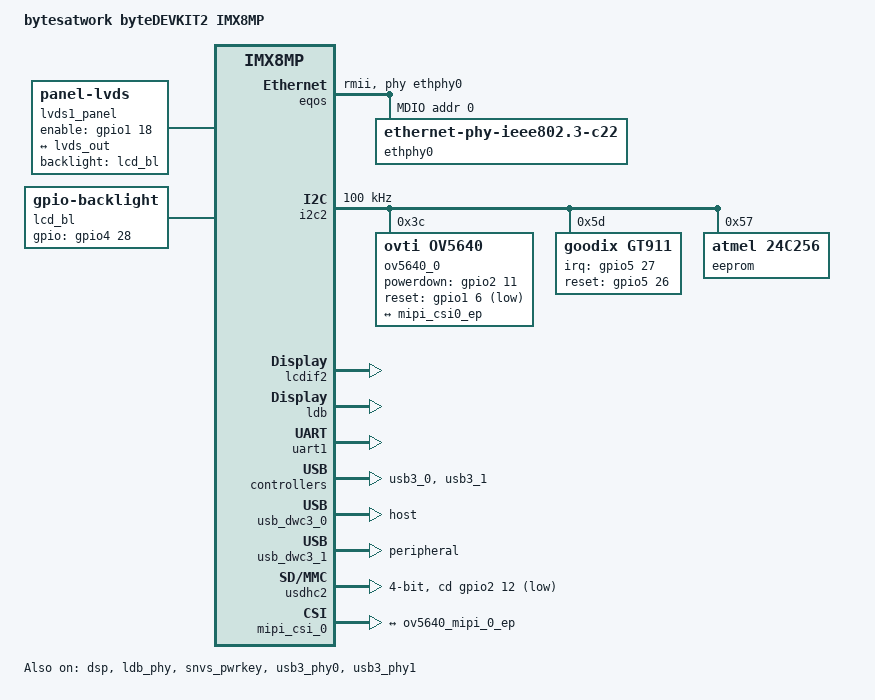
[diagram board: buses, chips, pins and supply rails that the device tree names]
// SPDX-License-Identifier: (GPL-2.0+ OR MIT)
/*
 * Copyright 2023 bytesatwork AG
 */

/dts-v1/;

#include "imx8mp-byteengine.dtsi"

/ {
	model = "bytesatwork byteDEVKIT2 IMX8MP";
	compatible = "bytesatwork,bytedevkit-imx8mp", "bytesatwork,byteengine-imx8mp", "fsl,imx8mp";

	chosen {
		stdout-path = &uart1;
	};

	lvds1_panel {
		compatible = "panel-lvds";
		status = "okay";
		backlight = <&lcd_bl>;
		enable-gpios = <&gpio1 18 GPIO_ACTIVE_HIGH>;
		data-mapping = "vesa-24";
		width-mm = <108>;
		height-mm = <65>;

		panel-timing {
			clock-frequency = <25000000>;
			hactive = <800>;
			vactive = <480>;
			hback-porch = <8>;
			hfront-porch = <8>;
			vback-porch = <8>;
			vfront-porch = <8>;
			hsync-len = <4>;
			vsync-len = <4>;
		};

		port {
			panel_in: endpoint {
				remote-endpoint = <&lvds_out>;
			};
		};
	};

	lcd_bl: backlight {
		compatible = "gpio-backlight";
		gpios = <&gpio4 28 GPIO_ACTIVE_HIGH>;
		default-on;
	};
};

&dsp {
	status = "okay";
};

&eqos {
	pinctrl-names = "default";
	pinctrl-0 = <&pinctrl_eqos>;
	phy-mode = "rmii";
	phy-handle = <&ethphy0>;
	snps,rmii_refclk_ext;
	mdio_rst_after_resume;
	snps,force_thresh_dma_mode;
	status = "okay";

	assigned-clock-parents = <&clk IMX8MP_SYS_PLL1_266M>,
				 <&clk IMX8MP_SYS_PLL2_100M>,
				 <&clk IMX8MP_SYS_PLL2_50M>;
	assigned-clock-rates = <0>, <100000000>, <50000000>;

	mdio {
		compatible = "snps,dwmac-mdio";
		#address-cells = <1>;
		#size-cells = <0>;
		ethphy0: ethernet-phy@0 {
			compatible = "ethernet-phy-ieee802.3-c22";
			reg = <0>;
			max-speed = <100>;
		};
	};
};

&i2c2 {
	clock-frequency = <100000>;
	pinctrl-names = "default";
	pinctrl-0 = <&pinctrl_i2c2
		     &pinctrl_touch>;
	status = "okay";

	ov5640_0: ov5640_mipi@3c {
		compatible = "ovti,ov5640";
		reg = <0x3c>;
		pinctrl-names = "default";
		pinctrl-0 = <&pinctrl_csi0_pwn>, <&pinctrl_csi0_rst>, <&pinctrl_csi_mclk>;
		clocks = <&clk IMX8MP_CLK_IPP_DO_CLKO2>;
		clock-names = "xclk";
		assigned-clocks = <&clk IMX8MP_CLK_IPP_DO_CLKO2>;
		assigned-clock-parents = <&clk IMX8MP_CLK_24M>;
		assigned-clock-rates = <24000000>;
		csi_id = <0>;
		powerdown-gpios = <&gpio2 11 GPIO_ACTIVE_HIGH>;
		reset-gpios = <&gpio1 6 GPIO_ACTIVE_LOW>;
		mclk = <24000000>;
		mclk_source = <0>;
		mipi_csi;
		status = "okay";

		port {
			ov5640_mipi_0_ep: endpoint {
				remote-endpoint = <&mipi_csi0_ep>;
				data-lanes = <1 2>;
				clock-lanes = <0>;
			};
		};
	};

	gt911@5d {
		compatible = "goodix,gt911";
		reg = <0x5d>;
		interrupt-parent = <&gpio5>;
		interrupts = <27 0>;
		irq-gpios = <&gpio5 27 0>;
		reset-gpios = <&gpio5 26 0>;
		touchscreen-inverted-x;
		touchscreen-inverted-y;
	};

	eeprom: eeprom@57 {
		compatible = "atmel,24c256";
		reg = <0x57>;
	};
};

&lcdif2 {
	status = "okay";
};

&ldb {
	status = "okay";

	lvds-channel@0 {
		fsl,data-mapping = "spwg";
		fsl,data-width = <24>;
		status = "okay";

		port@1 {
			reg = <1>;

			lvds_out: endpoint {
				remote-endpoint = <&panel_in>;
			};
		};
	};
};

&ldb_phy {
	status = "okay";
};

&snvs_pwrkey {
	status = "okay";
};

&uart1 { /* console */
	pinctrl-names = "default";
	pinctrl-0 = <&pinctrl_uart1>;
	status = "okay";
};

&usb3_phy0 {
	status = "okay";
};

&usb3_0 {
	status = "okay";
};

&usb_dwc3_0 {
	pinctrl-names = "default";
	pinctrl-0 = <&pinctrl_usb1>;
	dr_mode = "host";
	status = "okay";
};

&usb3_phy1 {
	status = "okay";
};

&usb3_1 {
	status = "okay";
};

&usb_dwc3_1 {
	pinctrl-names = "default";
	pinctrl-0 = <&pinctrl_usb1_vbus>;
	dr_mode = "peripheral";
	status = "okay";
};

&usdhc2 {
	assigned-clocks = <&clk IMX8MP_CLK_USDHC2>;
	assigned-clock-rates = <400000000>;
	pinctrl-names = "default";
	pinctrl-0 = <&pinctrl_usdhc2>, <&pinctrl_usdhc2_gpio>;
	cd-gpios = <&gpio2 12 GPIO_ACTIVE_LOW>;
	bus-width = <4>;
	status = "okay";
};

&iomuxc {
	pinctrl_uart1: uart1grp {
		fsl,pins = <
			MX8MP_IOMUXC_UART1_RXD__UART1_DCE_RX	0x140
			MX8MP_IOMUXC_UART1_TXD__UART1_DCE_TX	0x140
		>;
	};

	pinctrl_eqos: eqosgrp {
		fsl,pins = <
			MX8MP_IOMUXC_ENET_MDC__ENET_QOS_MDC		0x2
			MX8MP_IOMUXC_ENET_MDIO__ENET_QOS_MDIO		0x2
			MX8MP_IOMUXC_ENET_TD2__CCM_ENET_QOS_CLOCK_GENERATE_REF_CLK	0x40000090
			MX8MP_IOMUXC_ENET_RD0__ENET_QOS_RGMII_RD0	0x90
			MX8MP_IOMUXC_ENET_RD1__ENET_QOS_RGMII_RD1	0x90
			MX8MP_IOMUXC_ENET_TD0__ENET_QOS_RGMII_TD0	0x16
			MX8MP_IOMUXC_ENET_TD1__ENET_QOS_RGMII_TD1	0x16
			MX8MP_IOMUXC_ENET_RX_CTL__ENET_QOS_RGMII_RX_CTL	0x90  /* CRS DV */
			MX8MP_IOMUXC_ENET_TX_CTL__ENET_QOS_RGMII_TX_CTL	0x16  /* TX_EN */
			MX8MP_IOMUXC_ENET_TD3__GPIO1_IO18		0x14
			MX8MP_IOMUXC_SAI2_RXC__GPIO4_IO22		0x10
			MX8MP_IOMUXC_ENET_TXC__GPIO1_IO23		0x10  /* Disable TXC */
		>;
	};

	pinctrl_i2c2: i2c2grp {
		fsl,pins = <
			MX8MP_IOMUXC_I2C2_SCL__I2C2_SCL		0x400001c2
			MX8MP_IOMUXC_I2C2_SDA__I2C2_SDA		0x400001c2
		>;
	};

	pinctrl_reg_usdhc2_vmmc: regusdhc2vmmcgrp {
		fsl,pins = <
			MX8MP_IOMUXC_SD2_RESET_B__GPIO2_IO19	0x40
		>;
	};

	pinctrl_usb1_vbus: usb1grp {
		fsl,pins = <
			MX8MP_IOMUXC_GPIO1_IO14__GPIO1_IO14		0x10
		>;
	};

	pinctrl_usdhc2: usdhc2grp {
		fsl,pins = <
			MX8MP_IOMUXC_SD2_CLK__USDHC2_CLK	0x190
			MX8MP_IOMUXC_SD2_CMD__USDHC2_CMD	0x1d0
			MX8MP_IOMUXC_SD2_DATA0__USDHC2_DATA0	0x1d0
			MX8MP_IOMUXC_SD2_DATA1__USDHC2_DATA1	0x1d0
			MX8MP_IOMUXC_SD2_DATA2__USDHC2_DATA2	0x1d0
			MX8MP_IOMUXC_SD2_DATA3__USDHC2_DATA3	0x1d0
			MX8MP_IOMUXC_GPIO1_IO04__USDHC2_VSELECT	0xc0
		>;
	};

	pinctrl_usdhc2_100mhz: usdhc2-100mhzgrp {
		fsl,pins = <
			MX8MP_IOMUXC_SD2_CLK__USDHC2_CLK	0x194
			MX8MP_IOMUXC_SD2_CMD__USDHC2_CMD	0x1d4
			MX8MP_IOMUXC_SD2_DATA0__USDHC2_DATA0	0x1d4
			MX8MP_IOMUXC_SD2_DATA1__USDHC2_DATA1	0x1d4
			MX8MP_IOMUXC_SD2_DATA2__USDHC2_DATA2	0x1d4
			MX8MP_IOMUXC_SD2_DATA3__USDHC2_DATA3	0x1d4
			MX8MP_IOMUXC_GPIO1_IO04__USDHC2_VSELECT	0xc0
		>;
	};

	pinctrl_usdhc2_200mhz: usdhc2-200mhzgrp {
		fsl,pins = <
			MX8MP_IOMUXC_SD2_CLK__USDHC2_CLK	0x196
			MX8MP_IOMUXC_SD2_CMD__USDHC2_CMD	0x1d6
			MX8MP_IOMUXC_SD2_DATA0__USDHC2_DATA0	0x1d6
			MX8MP_IOMUXC_SD2_DATA1__USDHC2_DATA1	0x1d6
			MX8MP_IOMUXC_SD2_DATA2__USDHC2_DATA2	0x1d6
			MX8MP_IOMUXC_SD2_DATA3__USDHC2_DATA3	0x1d6
			MX8MP_IOMUXC_GPIO1_IO04__USDHC2_VSELECT	0xc0
		>;
	};

	pinctrl_usdhc2_gpio: usdhc2gpiogrp {
		fsl,pins = <
			MX8MP_IOMUXC_SD2_CD_B__GPIO2_IO12	0x1c4
		>;
	};

	pinctrl_csi0_pwn: csi0_pwn_grp {
		fsl,pins = <
			MX8MP_IOMUXC_SD1_STROBE__GPIO2_IO11	0x10
		>;
	};

	pinctrl_csi0_rst: csi0_rst_grp {
		fsl,pins = <
			MX8MP_IOMUXC_GPIO1_IO06__GPIO1_IO06		0x10
		>;
	};

	pinctrl_csi_mclk: csi_mclk_grp {
		fsl,pins = <
			MX8MP_IOMUXC_GPIO1_IO15__CCM_CLKO2	0x50
		>;
	};

	pinctrl_usb1: usb1_grp {
		fsl,pins = <
			MX8MP_IOMUXC_GPIO1_IO12__USB1_PWR	0x10
			MX8MP_IOMUXC_GPIO1_IO13__USB1_OC	0x10
		>;
	};

	pinctrl_touch: touch_grp {
		fsl,pins = <
			MX8MP_IOMUXC_UART3_RXD__GPIO5_IO26	0x10	/* Touch Reset*/
			MX8MP_IOMUXC_UART3_TXD__GPIO5_IO27	0x10	/* Touch Int */
		>;
	};
};

&mipi_csi_0 {
	#address-cells = <1>;
	#size-cells = <0>;
	status = "okay";

	port@0 {
		reg = <0>;

		mipi_csi0_ep: endpoint {
			remote-endpoint = <&ov5640_mipi_0_ep>;
			data-lanes = <2>;
			csis-hs-settle = <13>;
			csis-clk-settle = <2>;
			csis-wclk;
		};
	};
};
